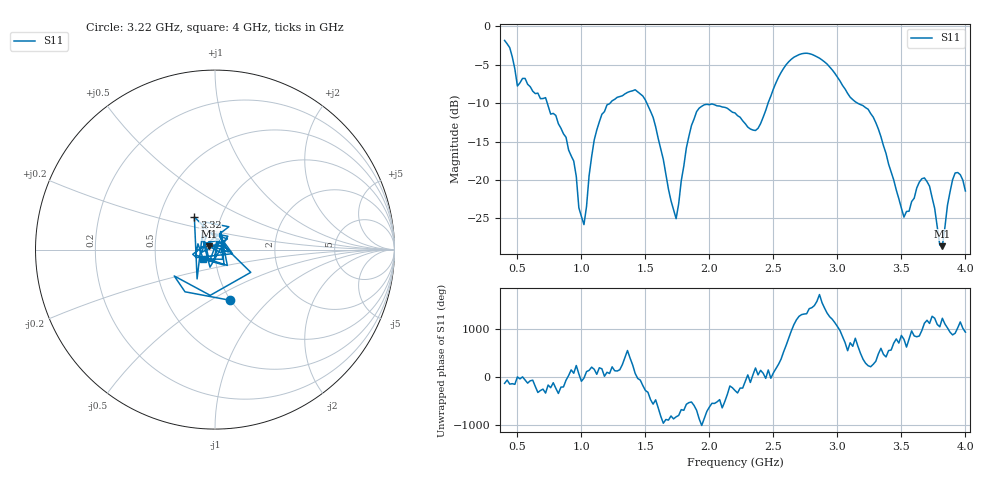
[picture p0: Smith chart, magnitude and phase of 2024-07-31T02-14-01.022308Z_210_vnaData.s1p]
!Created with skrf (http://scikit-rf.org).
# Hz S RI R 50.0
!freq ReS11 ImS11
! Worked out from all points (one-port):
!   181 points, 400 MHz to 4 GHz, reference 50 ohm
!   lowest |S11| = -28.6 dB at 3.82 GHz (marker M1), VSWR 1.08, Z = 46.9 + j1.74 ohm
!   |S11| at or under -10 dB: 733.5 MHz to 1.224 GHz (490.8 MHz wide, 50.1 % of centre); 1.511 GHz to 2.458 GHz (947.6 MHz wide, 47.7 % of centre); 3.157 GHz to end of sweep
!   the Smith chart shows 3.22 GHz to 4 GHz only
!   S11 on the Smith chart (normalised r, x): 3.22 GHz: 1.00, -0.62; 3.32 GHz: 0.75, +0.28; 4 GHz: 0.87, -0.09
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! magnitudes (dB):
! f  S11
! 400 MHz  -1.8
! 500 MHz  -7.8
! 720 MHz  -9.3
! 860 MHz  -14.0
! 940 MHz  -17.5
! 980 MHz  -23.6
! 1.02 GHz  -25.8
! 1.12 GHz  -13.5
! 1.3 GHz  -9.2
! 1.5 GHz  -9.6
! 1.58 GHz  -13.1
! 1.74 GHz  -25.0
! 1.76 GHz  -23.1
! 1.82 GHz  -15.8
! 1.9 GHz  -11.1
! 2.2 GHz  -11.3
! 2.38 GHz  -13.3
! 2.66 GHz  -4.0
! 2.88 GHz  -4.4
! 3.1 GHz  -9.2
! 3.22 GHz  -10.6
! 3.32 GHz  -13.4
! 3.52 GHz  -24.8
! 3.56 GHz  -24.1
! 3.68 GHz  -19.7
! 3.82 GHz  -28.6
! 3.92 GHz  -19.1
! 4 GHz  -21.4
